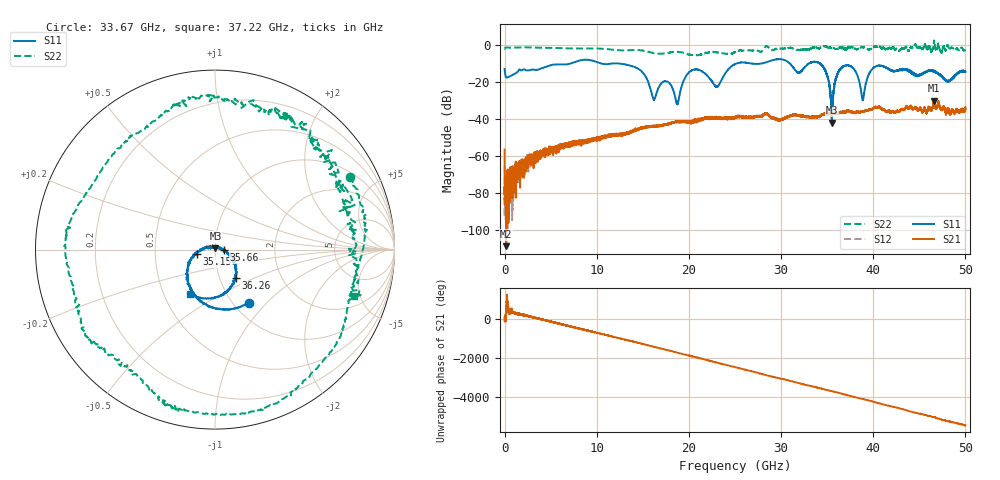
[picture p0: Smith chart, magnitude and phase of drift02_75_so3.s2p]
!Created with skrf (http://scikit-rf.org).
# Hz S RI R 50.0
!freq ReS11 ImS11 ReS21 ImS21 ReS12 ImS12 ReS22 ImS22
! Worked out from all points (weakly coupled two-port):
!   10001 points, 300 kHz to 50 GHz, reference 50 ohm
!   highest |S21| = -29.98 dB at 46.61 GHz (marker M1); lowest = -108.5 dB at 175.3 MHz (marker M2)
!   lowest |S11| = -42.0 dB at 35.51 GHz (marker M3), VSWR 1.02, Z = 50.3 + j0.757 ohm
!   |S11| at or under -10 dB: start of sweep to 7.181 GHz; 12.39 GHz to 25.15 GHz (12.77 GHz wide, 68 % of centre); 34.22 GHz to end of sweep (the widest 3 of 18)
!   |S22| runs from -5.7 to 2.4 dB; largest |S21 - S12| = 0.0034
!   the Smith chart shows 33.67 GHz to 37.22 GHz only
!   S11 on the Smith chart (normalised r, x): 33.67 GHz: 1.17, -0.79; 35.15 GHz: 0.81, -0.04; 35.66 GHz: 1.10, -0.00; 36.26 GHz: 1.19, -0.40; 37.22 GHz: 0.68, -0.36
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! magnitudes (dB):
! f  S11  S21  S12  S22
! 300 kHz  -13.0  -56.4  -65.4  -2.0
! 175.3 MHz  -17.5  -108.5  -74.7  -1.4
! 8.335 GHz  -8.2  -52.6  -51.5  -1.9
! 14.02 GHz  -11.7  -45.7  -46.1  -2.8
! 16.67 GHz  -23.4  -43.8  -43.6  -4.7
! 17.72 GHz  -19.9  -42.7  -42.4  -4.3
! 18.74 GHz  -31.9  -41.4  -41.5  -3.7
! 20.23 GHz  -13.9  -41.3  -41.6  -5.4
! 23.04 GHz  -22.5  -39.2  -39.3  -4.1
! 25 GHz  -10.4  -39.3  -39.4  -3.9
! 33.34 GHz  -9.3  -38.6  -38.7  -1.5
! 33.67 GHz  -9.1  -38.6  -38.6  -1.4
! 35.15 GHz  -19.6  -37.2  -37.0  -1.7
! 35.51 GHz  -42.0  -36.9  -36.8  -1.7
! 35.66 GHz  -26.1  -36.8  -36.7  -1.6
! 36.26 GHz  -14.1  -36.9  -36.5  -1.7
! 37.22 GHz  -11.0  -35.8  -35.4  -1.8
! 38.86 GHz  -29.8  -36.0  -35.9  -1.3
! 39.96 GHz  -12.7  -34.4  -34.5  -1.9
! 41.67 GHz  -13.0  -35.4  -35.6  -1.9
! 46.61 GHz  -14.2  -30.0  -30.4  2.4
! 50 GHz  -14.6  -33.6  -34.6  -2.8
